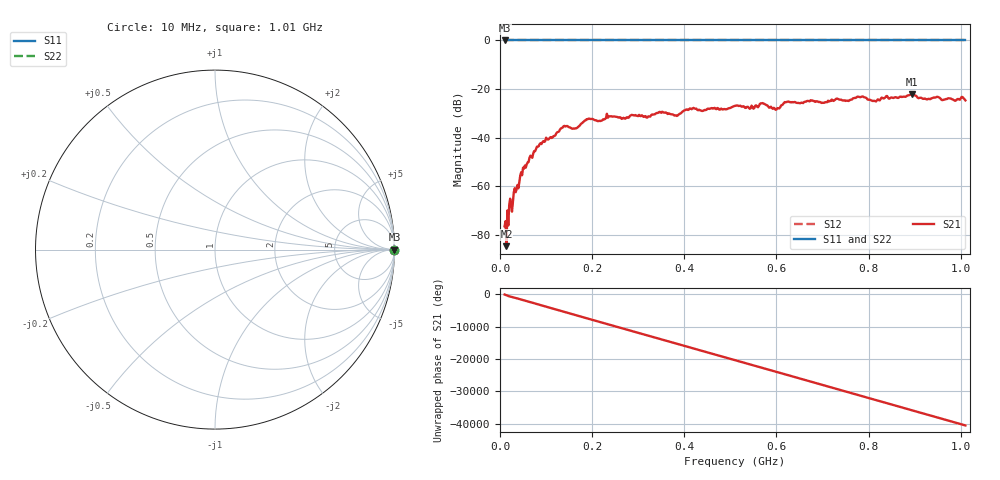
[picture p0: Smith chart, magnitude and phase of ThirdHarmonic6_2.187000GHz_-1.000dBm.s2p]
! 8/17/2025 2:04:55 AM
! C:\ANRITSUVNA\TEMP\TEMP.S2P
! CHANNEL.1
! TR.MEASUREMENT
! RAW.DATA
! RF.CORRECTION.OFF
! AVERAGING.OFF
! IF.BANDWIDTH: 5KHZ
! SWEEPTYPE:  FREQ.SWEEP(Linear)
! Reference Plane Port Info
! PORT:  PORT1  PORT2
! DISTANCE:  0  m  0  m
! TIME:  0  s  0  s
! PHASE.OFFSET:  0  deg.  0  deg.
! LOSS:  0  dB  0  dB
! REF.LOSS:  0  dB  0  dB
! REF.FREQ:  0  Hz  0  Hz
! Power Info
! POWER:  -20  dBm  -20  dBm
! EFF.POWER:  -20  dBm  -20  dBm
! SOURCE.ATTEN:  0  dB  0  dB
! TEST.ATTEN:  0  dB  0  dB
# GHZ S RI R 50.0
! FREQ.GHZ  S11RE  S11IM  S21RE  S21IM  S12RE  S12IM  S22RE  S22IM
!; PortSelection: Port_12
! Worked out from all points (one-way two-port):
!   501 points, 10 MHz to 1.01 GHz, reference 50 ohm
!   highest |S21| = -22.15 dB at 894 MHz (marker M1); lowest = -84.5 dB at 14 MHz (marker M2)
!   lowest |S11| = 0.0 dB at 10 MHz (marker M3)
!   |S11| at or under -10 dB: nowhere
!   |S22| runs from 0.0 to 0.0 dB; largest |S21 - S12| = 1.1
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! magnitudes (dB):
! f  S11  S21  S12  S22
! 10 MHz  0.0  -76.3  0.0  0.0
! 14 MHz  0.0  -84.5  0.0  0.0
! 20 MHz  0.0  -67.7  0.0  0.0
! 48 MHz  0.0  -55.3  0.0  0.0
! 78 MHz  0.0  -44.7  0.0  0.0
! 136 MHz  0.0  -35.8  0.0  0.0
! 162 MHz  0.0  -36.2  0.0  0.0
! 178 MHz  0.0  -34.0  0.0  0.0
! 236 MHz  0.0  -31.2  0.0  0.0
! 322 MHz  0.0  -31.2  0.0  0.0
! 344 MHz  0.0  -29.6  0.0  0.0
! 382 MHz  0.0  -30.8  0.0  0.0
! 416 MHz  0.0  -28.2  0.0  0.0
! 510 MHz  0.0  -26.9  0.0  0.0
! 546 MHz  0.0  -26.8  0.0  0.0
! 570 MHz  0.0  -25.7  0.0  0.0
! 602 MHz  0.0  -27.8  0.0  0.0
! 622 MHz  0.0  -25.3  0.0  0.0
! 678 MHz  0.0  -24.6  0.0  0.0
! 844 MHz  0.0  -23.9  0.0  0.0
! 894 MHz  0.0  -22.1  0.0  0.0
! 1.01 GHz  0.0  -24.6  0.0  0.0
